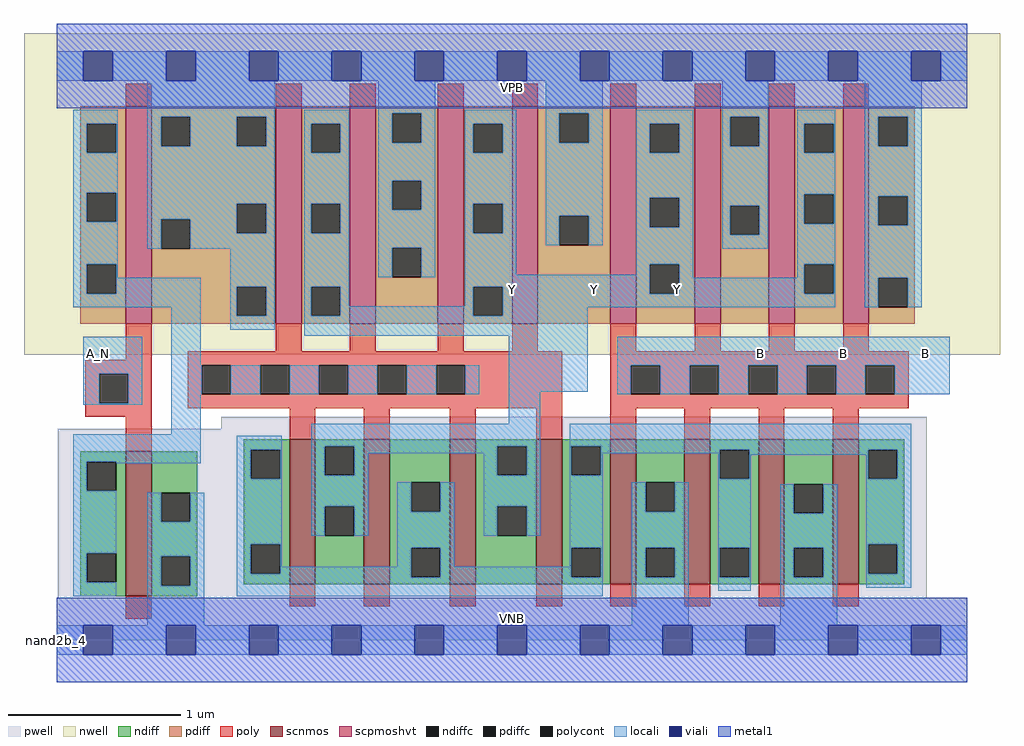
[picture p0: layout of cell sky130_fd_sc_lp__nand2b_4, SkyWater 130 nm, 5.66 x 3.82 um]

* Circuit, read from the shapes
.subckt sky130_fd_sc_lp__nand2b_4 A_N B VGND VNB VPB VPWR Y
XM1 VGND A_N n1 VNB sky130_fd_pr__nfet_01v8 w=0.84 l=0.15
XM2 Y n1 n2 VNB sky130_fd_pr__nfet_01v8 w=0.84 l=0.15 m=4
XM3 VGND B n2 VNB sky130_fd_pr__nfet_01v8 w=0.84 l=0.15 m=4
XM4 VPWR A_N n1 VPB sky130_fd_pr__pfet_01v8_hvt w=1.26 l=0.15
XM5 Y n1 VPWR VPB sky130_fd_pr__pfet_01v8_hvt w=1.26 l=0.15 m=4
XM6 Y B VPWR VPB sky130_fd_pr__pfet_01v8_hvt w=1.26 l=0.15 m=4
.ends

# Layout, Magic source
magic
tech sky130A
magscale 1 2
<< nwell >>
rect -38 331 1094 704
<< pwell >>
rect 191 245 1009 259
rect 1 49 1009 245
rect 0 0 1056 49
<< scnmos >>
rect 80 51 110 219
rect 270 65 300 233
rect 356 65 386 233
rect 456 65 486 233
rect 556 65 586 233
rect 642 65 672 233
rect 728 65 758 233
rect 814 65 844 233
rect 900 65 930 233
<< scpmoshvt >>
rect 80 367 110 619
rect 254 367 284 619
rect 340 367 370 619
rect 442 367 472 619
rect 528 367 558 619
rect 642 367 672 619
rect 740 367 770 619
rect 826 367 856 619
rect 912 367 942 619
<< ndiff >>
rect 217 221 270 233
rect 27 207 80 219
rect 27 173 35 207
rect 69 173 80 207
rect 27 101 80 173
rect 27 67 35 101
rect 69 67 80 101
rect 27 51 80 67
rect 110 171 163 219
rect 110 137 121 171
rect 155 137 163 171
rect 110 97 163 137
rect 110 63 121 97
rect 155 63 163 97
rect 217 187 225 221
rect 259 187 270 221
rect 217 111 270 187
rect 217 77 225 111
rect 259 77 270 111
rect 217 65 270 77
rect 300 225 356 233
rect 300 191 311 225
rect 345 191 356 225
rect 300 155 356 191
rect 300 121 311 155
rect 345 121 356 155
rect 300 65 356 121
rect 386 183 456 233
rect 386 149 411 183
rect 445 149 456 183
rect 386 107 456 149
rect 386 73 411 107
rect 445 73 456 107
rect 386 65 456 73
rect 486 225 556 233
rect 486 191 511 225
rect 545 191 556 225
rect 486 155 556 191
rect 486 121 511 155
rect 545 121 556 155
rect 486 65 556 121
rect 586 225 642 233
rect 586 191 597 225
rect 631 191 642 225
rect 586 107 642 191
rect 586 73 597 107
rect 631 73 642 107
rect 586 65 642 73
rect 672 183 728 233
rect 672 149 683 183
rect 717 149 728 183
rect 672 107 728 149
rect 672 73 683 107
rect 717 73 728 107
rect 672 65 728 73
rect 758 221 814 233
rect 758 187 769 221
rect 803 187 814 221
rect 758 107 814 187
rect 758 73 769 107
rect 803 73 814 107
rect 758 65 814 73
rect 844 181 900 233
rect 844 147 855 181
rect 889 147 900 181
rect 844 107 900 147
rect 844 73 855 107
rect 889 73 900 107
rect 844 65 900 73
rect 930 221 983 233
rect 930 187 941 221
rect 975 187 983 221
rect 930 111 983 187
rect 930 77 941 111
rect 975 77 983 111
rect 930 65 983 77
rect 110 51 163 63
<< pdiff >>
rect 27 599 80 619
rect 27 565 35 599
rect 69 565 80 599
rect 27 519 80 565
rect 27 485 35 519
rect 69 485 80 519
rect 27 436 80 485
rect 27 402 35 436
rect 69 402 80 436
rect 27 367 80 402
rect 110 607 254 619
rect 110 573 121 607
rect 155 573 209 607
rect 243 573 254 607
rect 110 506 254 573
rect 110 488 209 506
rect 110 454 121 488
rect 155 472 209 488
rect 243 472 254 506
rect 155 454 254 472
rect 110 410 254 454
rect 110 376 209 410
rect 243 376 254 410
rect 110 367 254 376
rect 284 599 340 619
rect 284 565 295 599
rect 329 565 340 599
rect 284 506 340 565
rect 284 472 295 506
rect 329 472 340 506
rect 284 410 340 472
rect 284 376 295 410
rect 329 376 340 410
rect 284 367 340 376
rect 370 611 442 619
rect 370 577 389 611
rect 423 577 442 611
rect 370 533 442 577
rect 370 499 389 533
rect 423 499 442 533
rect 370 455 442 499
rect 370 421 389 455
rect 423 421 442 455
rect 370 367 442 421
rect 472 599 528 619
rect 472 565 483 599
rect 517 565 528 599
rect 472 506 528 565
rect 472 472 483 506
rect 517 472 528 506
rect 472 410 528 472
rect 472 376 483 410
rect 517 376 528 410
rect 472 367 528 376
rect 558 611 642 619
rect 558 577 583 611
rect 617 577 642 611
rect 558 492 642 577
rect 558 458 583 492
rect 617 458 642 492
rect 558 367 642 458
rect 672 599 740 619
rect 672 565 688 599
rect 722 565 740 599
rect 672 513 740 565
rect 672 479 688 513
rect 722 479 740 513
rect 672 436 740 479
rect 672 402 688 436
rect 722 402 740 436
rect 672 367 740 402
rect 770 607 826 619
rect 770 573 781 607
rect 815 573 826 607
rect 770 504 826 573
rect 770 470 781 504
rect 815 470 826 504
rect 770 367 826 470
rect 856 599 912 619
rect 856 565 867 599
rect 901 565 912 599
rect 856 517 912 565
rect 856 483 867 517
rect 901 483 912 517
rect 856 436 912 483
rect 856 402 867 436
rect 901 402 912 436
rect 856 367 912 402
rect 942 607 995 619
rect 942 573 953 607
rect 987 573 995 607
rect 942 515 995 573
rect 942 481 953 515
rect 987 481 995 515
rect 942 420 995 481
rect 942 386 953 420
rect 987 386 995 420
rect 942 367 995 386
<< ndiffc >>
rect 35 173 69 207
rect 35 67 69 101
rect 121 137 155 171
rect 121 63 155 97
rect 225 187 259 221
rect 225 77 259 111
rect 311 191 345 225
rect 311 121 345 155
rect 411 149 445 183
rect 411 73 445 107
rect 511 191 545 225
rect 511 121 545 155
rect 597 191 631 225
rect 597 73 631 107
rect 683 149 717 183
rect 683 73 717 107
rect 769 187 803 221
rect 769 73 803 107
rect 855 147 889 181
rect 855 73 889 107
rect 941 187 975 221
rect 941 77 975 111
<< pdiffc >>
rect 35 565 69 599
rect 35 485 69 519
rect 35 402 69 436
rect 121 573 155 607
rect 209 573 243 607
rect 121 454 155 488
rect 209 472 243 506
rect 209 376 243 410
rect 295 565 329 599
rect 295 472 329 506
rect 295 376 329 410
rect 389 577 423 611
rect 389 499 423 533
rect 389 421 423 455
rect 483 565 517 599
rect 483 472 517 506
rect 483 376 517 410
rect 583 577 617 611
rect 583 458 617 492
rect 688 565 722 599
rect 688 479 722 513
rect 688 402 722 436
rect 781 573 815 607
rect 781 470 815 504
rect 867 565 901 599
rect 867 483 901 517
rect 867 402 901 436
rect 953 573 987 607
rect 953 481 987 515
rect 953 386 987 420
<< poly >>
rect 80 619 110 645
rect 254 619 284 645
rect 340 619 370 645
rect 442 619 472 645
rect 528 619 558 645
rect 642 619 672 645
rect 740 619 770 645
rect 826 619 856 645
rect 912 619 942 645
rect 80 325 110 367
rect 254 335 284 367
rect 340 335 370 367
rect 442 335 472 367
rect 528 335 558 367
rect 642 335 672 367
rect 740 335 770 367
rect 826 335 856 367
rect 912 335 942 367
rect 33 309 110 325
rect 33 275 49 309
rect 83 275 110 309
rect 33 259 110 275
rect 152 319 586 335
rect 152 285 168 319
rect 202 285 236 319
rect 270 285 304 319
rect 338 285 372 319
rect 406 285 440 319
rect 474 285 586 319
rect 152 269 586 285
rect 80 219 110 259
rect 270 233 300 269
rect 356 233 386 269
rect 456 233 486 269
rect 556 233 586 269
rect 642 319 988 335
rect 642 285 666 319
rect 700 285 734 319
rect 768 285 802 319
rect 836 285 870 319
rect 904 285 938 319
rect 972 285 988 319
rect 642 269 988 285
rect 642 233 672 269
rect 728 233 758 269
rect 814 233 844 269
rect 900 233 930 269
rect 80 25 110 51
rect 270 39 300 65
rect 356 39 386 65
rect 456 39 486 65
rect 556 39 586 65
rect 642 39 672 65
rect 728 39 758 65
rect 814 39 844 65
rect 900 39 930 65
<< polycont >>
rect 49 275 83 309
rect 168 285 202 319
rect 236 285 270 319
rect 304 285 338 319
rect 372 285 406 319
rect 440 285 474 319
rect 666 285 700 319
rect 734 285 768 319
rect 802 285 836 319
rect 870 285 904 319
rect 938 285 972 319
<< locali >>
rect 0 649 31 683
rect 65 649 127 683
rect 161 649 223 683
rect 257 649 319 683
rect 353 649 415 683
rect 449 649 511 683
rect 545 649 607 683
rect 641 649 703 683
rect 737 649 799 683
rect 833 649 895 683
rect 929 649 991 683
rect 1025 649 1056 683
rect 19 599 71 615
rect 19 565 35 599
rect 69 565 71 599
rect 19 519 71 565
rect 19 485 35 519
rect 69 485 71 519
rect 19 436 71 485
rect 105 607 253 649
rect 105 573 121 607
rect 155 573 209 607
rect 243 573 253 607
rect 105 506 253 573
rect 105 488 209 506
rect 105 454 121 488
rect 155 472 209 488
rect 243 472 253 506
rect 155 454 253 472
rect 19 402 35 436
rect 69 420 71 436
rect 69 402 167 420
rect 19 386 167 402
rect 31 309 99 352
rect 31 275 49 309
rect 83 275 99 309
rect 31 273 99 275
rect 133 319 167 386
rect 201 410 253 454
rect 201 376 209 410
rect 243 376 253 410
rect 201 360 253 376
rect 287 599 339 615
rect 287 565 295 599
rect 329 565 339 599
rect 287 506 339 565
rect 287 472 295 506
rect 329 472 339 506
rect 287 410 339 472
rect 373 611 439 649
rect 373 577 389 611
rect 423 577 439 611
rect 373 533 439 577
rect 373 499 389 533
rect 423 499 439 533
rect 373 455 439 499
rect 373 421 389 455
rect 423 421 439 455
rect 473 599 533 615
rect 473 565 483 599
rect 517 565 533 599
rect 473 506 533 565
rect 473 472 483 506
rect 517 472 533 506
rect 473 424 533 472
rect 567 611 633 649
rect 567 577 583 611
rect 617 577 633 611
rect 567 492 633 577
rect 567 458 583 492
rect 617 458 633 492
rect 672 599 738 615
rect 672 565 688 599
rect 722 565 738 599
rect 672 513 738 565
rect 672 479 688 513
rect 722 479 738 513
rect 672 436 738 479
rect 772 607 825 649
rect 772 573 781 607
rect 815 573 825 607
rect 772 504 825 573
rect 772 470 781 504
rect 815 470 825 504
rect 772 454 825 470
rect 859 599 903 615
rect 859 565 867 599
rect 901 565 903 599
rect 859 517 903 565
rect 859 483 867 517
rect 901 483 903 517
rect 672 424 688 436
rect 287 376 295 410
rect 329 387 339 410
rect 473 410 688 424
rect 473 387 483 410
rect 329 376 483 387
rect 517 402 688 410
rect 722 420 738 436
rect 859 436 903 483
rect 859 420 867 436
rect 722 402 867 420
rect 901 402 903 436
rect 517 386 903 402
rect 937 607 1003 649
rect 937 573 953 607
rect 987 573 1003 607
rect 937 515 1003 573
rect 937 481 953 515
rect 987 481 1003 515
rect 937 420 1003 481
rect 937 386 953 420
rect 987 386 1003 420
rect 517 376 616 386
rect 287 353 616 376
rect 133 285 168 319
rect 202 285 236 319
rect 270 285 304 319
rect 338 285 372 319
rect 406 285 440 319
rect 474 285 490 319
rect 524 288 616 353
rect 650 319 1036 352
rect 133 239 167 285
rect 524 251 561 288
rect 650 285 666 319
rect 700 285 734 319
rect 768 285 802 319
rect 836 285 870 319
rect 904 285 938 319
rect 972 285 1036 319
rect 19 207 167 239
rect 19 173 35 207
rect 69 205 167 207
rect 209 221 261 237
rect 19 101 69 173
rect 209 187 225 221
rect 259 187 261 221
rect 19 67 35 101
rect 19 51 69 67
rect 105 137 121 171
rect 155 137 171 171
rect 105 97 171 137
rect 105 63 121 97
rect 155 63 171 97
rect 105 17 171 63
rect 209 111 261 187
rect 295 225 561 251
rect 295 191 311 225
rect 345 217 511 225
rect 345 191 361 217
rect 295 155 361 191
rect 495 191 511 217
rect 545 191 561 225
rect 295 121 311 155
rect 345 121 361 155
rect 395 149 411 183
rect 445 149 461 183
rect 209 77 225 111
rect 259 85 261 111
rect 395 107 461 149
rect 495 155 561 191
rect 495 121 511 155
rect 545 121 561 155
rect 595 225 991 251
rect 595 191 597 225
rect 631 221 991 225
rect 631 217 769 221
rect 631 191 633 217
rect 395 85 411 107
rect 259 77 411 85
rect 209 73 411 77
rect 445 85 461 107
rect 595 107 633 191
rect 767 187 769 217
rect 803 215 941 221
rect 803 187 805 215
rect 595 85 597 107
rect 445 73 597 85
rect 631 73 633 107
rect 209 51 633 73
rect 667 149 683 183
rect 717 149 733 183
rect 667 107 733 149
rect 667 73 683 107
rect 717 73 733 107
rect 667 17 733 73
rect 767 107 805 187
rect 939 187 941 215
rect 975 187 991 221
rect 767 73 769 107
rect 803 73 805 107
rect 767 57 805 73
rect 839 147 855 181
rect 889 147 905 181
rect 839 107 905 147
rect 839 73 855 107
rect 889 73 905 107
rect 839 17 905 73
rect 939 111 991 187
rect 939 77 941 111
rect 975 77 991 111
rect 939 61 991 77
rect 0 -17 31 17
rect 65 -17 127 17
rect 161 -17 223 17
rect 257 -17 319 17
rect 353 -17 415 17
rect 449 -17 511 17
rect 545 -17 607 17
rect 641 -17 703 17
rect 737 -17 799 17
rect 833 -17 895 17
rect 929 -17 991 17
rect 1025 -17 1056 17
<< viali >>
rect 31 649 65 683
rect 127 649 161 683
rect 223 649 257 683
rect 319 649 353 683
rect 415 649 449 683
rect 511 649 545 683
rect 607 649 641 683
rect 703 649 737 683
rect 799 649 833 683
rect 895 649 929 683
rect 991 649 1025 683
rect 31 -17 65 17
rect 127 -17 161 17
rect 223 -17 257 17
rect 319 -17 353 17
rect 415 -17 449 17
rect 511 -17 545 17
rect 607 -17 641 17
rect 703 -17 737 17
rect 799 -17 833 17
rect 895 -17 929 17
rect 991 -17 1025 17
<< metal1 >>
rect 0 683 1056 715
rect 0 649 31 683
rect 65 649 127 683
rect 161 649 223 683
rect 257 649 319 683
rect 353 649 415 683
rect 449 649 511 683
rect 545 649 607 683
rect 641 649 703 683
rect 737 649 799 683
rect 833 649 895 683
rect 929 649 991 683
rect 1025 649 1056 683
rect 0 617 1056 649
rect 0 17 1056 49
rect 0 -17 31 17
rect 65 -17 127 17
rect 161 -17 223 17
rect 257 -17 319 17
rect 353 -17 415 17
rect 449 -17 511 17
rect 545 -17 607 17
rect 641 -17 703 17
rect 737 -17 799 17
rect 833 -17 895 17
rect 929 -17 991 17
rect 1025 -17 1056 17
rect 0 -49 1056 -17
<< labels >>
flabel pwell s 0 0 1056 49 0 FreeSans 200 0 0 0 VNB
port 4 nsew ground bidirectional
flabel nwell s 0 617 1056 666 0 FreeSans 200 0 0 0 VPB
port 5 nsew power bidirectional
rlabel comment s 0 0 0 0 4 nand2b_4
flabel metal1 s 0 617 1056 666 0 FreeSans 340 0 0 0 VPWR
port 6 nsew power bidirectional
flabel metal1 s 0 0 1056 49 0 FreeSans 340 0 0 0 VGND
port 3 nsew ground bidirectional
flabel locali s 799 316 833 350 0 FreeSans 340 0 0 0 B
port 2 nsew signal input
flabel locali s 895 316 929 350 0 FreeSans 340 0 0 0 B
port 2 nsew signal input
flabel locali s 991 316 1025 350 0 FreeSans 340 0 0 0 B
port 2 nsew signal input
flabel locali s 31 316 65 350 0 FreeSans 340 0 0 0 A_N
port 1 nsew signal input
flabel locali s 511 390 545 424 0 FreeSans 340 0 0 0 Y
port 7 nsew signal output
flabel locali s 607 390 641 424 0 FreeSans 340 0 0 0 Y
port 7 nsew signal output
flabel locali s 703 390 737 424 0 FreeSans 340 0 0 0 Y
port 7 nsew signal output
<< properties >>
string LEFsite unit
string LEFclass CORE
string FIXED_BBOX 0 0 1056 666
string GDS_FILE $PDKPATH/libs.ref/sky130_fd_sc_lp/gds/sky130_fd_sc_lp.gds
string LEFsymmetry X Y R90
string GDS_END 4440312
string GDS_START 4430774
<< end >>
